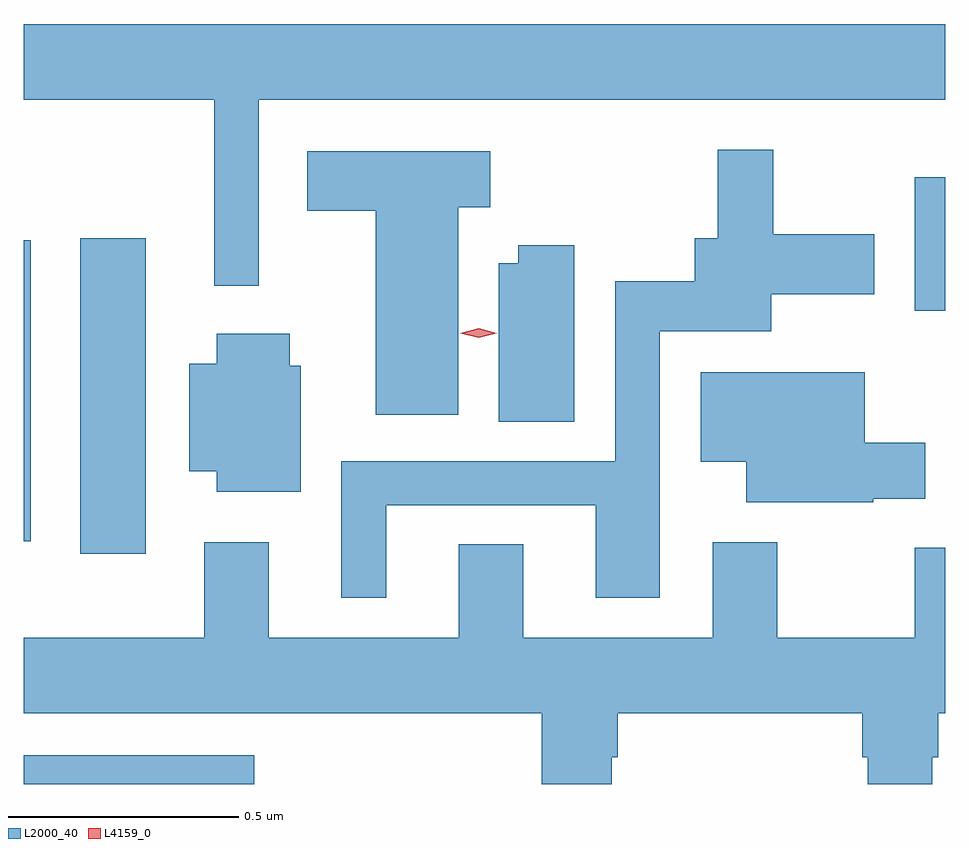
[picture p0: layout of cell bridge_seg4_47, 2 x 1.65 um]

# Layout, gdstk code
import gdstk
lib = gdstk.Library(unit=1e-6, precision=1e-09)
def R(c, l, rs):  # rectangles x0, y0, x1, y1
    for r in rs: c.add(gdstk.rectangle(r[:2], r[2:], *l))
def P(c, l, *ps):  # polygons
    for p in ps: c.add(gdstk.Polygon(p, *l))
L2000_40 = (2000, 40)
L4159_0 = (4159, 0)

bridge_seg4_47 = lib.new_cell('bridge_seg4_47')
R(bridge_seg4_47, L2000_40, [(665.163,805.99,665.663,806.052), (665.285,806.49,665.428,807.175), (665.163,806.517,665.178,807.171), (667.097,807.017,667.163,807.307)])
P(bridge_seg4_47, L2000_40, [(665.673,807.476),(667.163,807.476),(667.163,807.64),(665.163,807.64),(665.163,807.476),(665.576,807.476),(665.576,807.072),(665.673,807.072)],
  [(665.95,806.595),(666.404,806.595),(666.404,806.394),(666.543,806.394),(666.543,806.973),(666.786,806.973),(666.786,807.053),(667.009,807.053),(667.009,807.183),(666.79,807.183),(666.79,807.367),(666.669,807.367),(666.669,807.175),(666.62,807.175),(666.62,807.082),(666.447,807.082),(666.447,806.691),(665.852,806.691),(665.852,806.394),(665.95,806.394)],
  [(666.106,807.242),(666.175,807.242),(666.175,807.364),(665.778,807.364),(665.778,807.235),(665.927,807.235),(665.927,806.792),(666.106,806.792)],
  [(666.358,807.16),(666.236,807.16),(666.236,807.121),(666.194,807.121),(666.194,806.776),(666.358,806.776)],
  [(665.764,806.898),(665.74,806.898),(665.74,806.968),(665.582,806.968),(665.582,806.902),(665.522,806.902),(665.522,806.669),(665.582,806.669),(665.582,806.624),(665.764,806.624)],
  [(667.007,806.609),(667.12,806.609),(667.12,806.731),(666.988,806.731),(666.988,806.884),(666.632,806.884),(666.632,806.69),(666.731,806.69),(666.731,806.602),(667.007,806.602)],
  [(666.439,806.048),(666.452,806.048),(666.452,806.144),(666.983,806.144),(666.983,806.048),(666.995,806.048),(666.995,805.99),(667.135,805.99),(667.135,806.048),(667.148,806.048),(667.148,806.144),(667.163,806.144),(667.163,806.503),(667.097,806.503),(667.097,806.308),(666.799,806.308),(666.799,806.515),(666.659,806.515),(666.659,806.308),(666.247,806.308),(666.247,806.51),(666.107,806.51),(666.107,806.308),(665.695,806.308),(665.695,806.515),(665.555,806.515),(665.555,806.308),(665.163,806.308),(665.163,806.144),(666.287,806.144),(666.287,805.99),(666.439,805.99)])
P(bridge_seg4_47, L4159_0, [(666.15,806.959),(666.11,806.969),(666.11,806.969),(666.11,806.969),(666.15,806.979),(666.19,806.969),(666.19,806.969),(666.19,806.969)])

lib.write_gds('bridge_seg4_47.gds')
